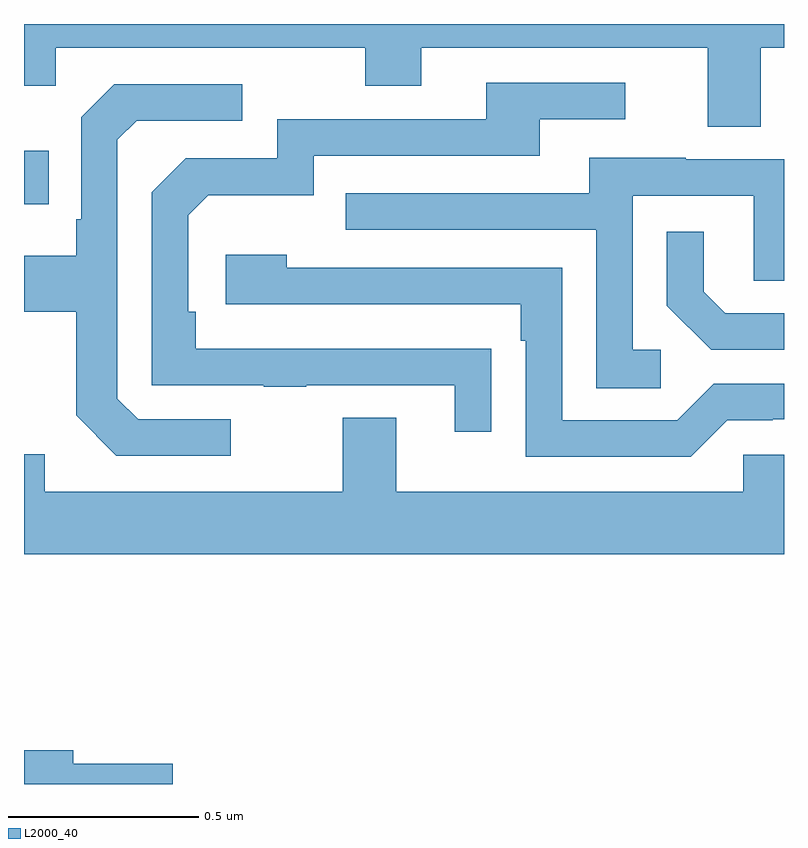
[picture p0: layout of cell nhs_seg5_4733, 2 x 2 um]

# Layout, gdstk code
import gdstk
lib = gdstk.Library(unit=1e-6, precision=1e-09)
def R(c, l, rs):  # rectangles x0, y0, x1, y1
    for r in rs: c.add(gdstk.rectangle(r[:2], r[2:], *l))
def P(c, l, *ps):  # polygons
    for p in ps: c.add(gdstk.Polygon(p, *l))
L2000_40 = (2000, 40)

nhs_seg5_4733 = lib.new_cell('nhs_seg5_4733')
R(nhs_seg5_4733, L2000_40, [(174,880.325,174.065,880.465)])
P(nhs_seg5_4733, L2000_40, [(175.939,880.736),(176,880.736),(176,880.799),(174,880.799),(174,880.637),(174.084,880.637),(174.084,880.736),(174.898,880.736),(174.898,880.637),(175.045,880.637),(175.045,880.736),(175.799,880.736),(175.799,880.528),(175.939,880.528)],
  [(175.229,879.944),(175.127,879.944),(175.127,879.945),(174.452,879.945),(174.452,880.042),(174.432,880.042),(174.432,880.296),(174.485,880.349),(174.762,880.349),(174.762,880.452),(175.357,880.452),(175.357,880.548),(175.582,880.548),(175.582,880.644),(175.217,880.644),(175.217,880.548),(174.666,880.548),(174.666,880.446),(174.426,880.446),(174.336,880.356),(174.336,879.849),(174.631,879.849),(174.631,879.844),(174.743,879.844),(174.743,879.849),(175.133,879.849),(175.133,879.726),(175.229,879.726)],
  [(174.544,879.759),(174.3,879.759),(174.246,879.813),(174.246,880.494),(174.297,880.545),(174.574,880.545),(174.574,880.641),(174.237,880.641),(174.15,880.554),(174.15,880.285),(174.138,880.285),(174.138,880.189),(174,880.189),(174,880.042),(174.138,880.042),(174.138,879.769),(174.243,879.663),(174.544,879.663)],
  [(175.675,879.942),(175.602,879.942),(175.602,880.347),(175.92,880.347),(175.92,880.123),(176,880.123),(176,880.443),(175.741,880.443),(175.741,880.447),(175.487,880.447),(175.487,880.353),(174.847,880.353),(174.847,880.257),(175.506,880.257),(175.506,879.841),(175.675,879.841)],
  [(176,880.038),(175.846,880.038),(175.789,880.095),(175.789,880.252),(175.692,880.252),(175.692,880.058),(175.808,879.942),(176,879.942)],
  [(175.851,879.756),(175.97,879.756),(175.97,879.759),(176,879.759),(176,879.852),(175.815,879.852),(175.719,879.756),(175.416,879.756),(175.416,880.158),(174.692,880.158),(174.692,880.192),(174.531,880.192),(174.531,880.062),(175.307,880.062),(175.307,879.965),(175.32,879.965),(175.32,879.66),(175.755,879.66)],
  [(176,879.666),(175.893,879.666),(175.893,879.568),(174.979,879.568),(174.979,879.763),(174.839,879.763),(174.839,879.568),(174.055,879.568),(174.055,879.667),(174,879.667),(174,879.404),(176,879.404)],
  [(174.391,878.852),(174.13,878.852),(174.13,878.888),(174,878.888),(174,878.799),(174.391,878.799)])

lib.write_gds('nhs_seg5_4733.gds')
